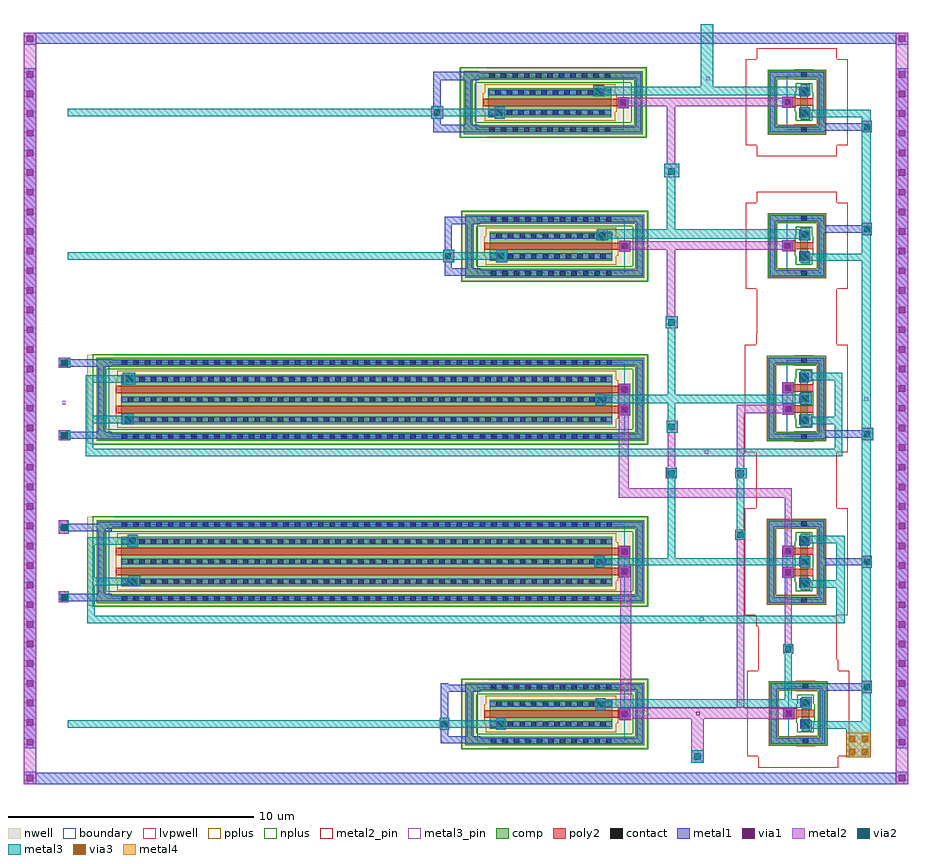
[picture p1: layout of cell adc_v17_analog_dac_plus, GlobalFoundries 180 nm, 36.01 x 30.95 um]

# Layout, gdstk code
import gdstk
lib = gdstk.Library(unit=1e-6, precision=1e-09)
def R(c, l, rs):  # rectangles x0, y0, x1, y1
    for r in rs: c.add(gdstk.rectangle(r[:2], r[2:], *l))
def A(c, l, x, y, w, h, nx, ny, dx, dy):  # array of equal rectangles
    R(c, l, [(x+i*dx, y+j*dy, x+i*dx+w, y+j*dy+h) for i in range(nx) for j in range(ny)])
def P(c, l, *ps):  # polygons
    for p in ps: c.add(gdstk.Polygon(p, *l))
boundary = (0, 0)
nwell = (21, 0)
comp = (22, 0)
poly2 = (30, 0)
pplus = (31, 0)
nplus = (32, 0)
contact = (33, 0)
metal1 = (34, 0)
via1 = (35, 0)
metal2 = (36, 0)
metal2_pin = (36, 10)
via2 = (38, 0)
via3 = (40, 0)
metal3 = (42, 0)
metal3_pin = (42, 10)
metal4 = (46, 0)
lvpwell = (204, 0)

adc_v17_analog_dac_plus = lib.new_cell('adc_v17_analog_dac_plus')
R(adc_v17_analog_dac_plus, boundary, [(555.815,40.535,561.835,42.735), (568.475,40.535,569.885,42.775), (568.425,46.285,569.835,49.385), (540.815,46.335,561.835,49.355), (540.815,52.935,561.835,55.955), (568.425,52.935,569.835,56.035), (555.815,59.585,561.835,61.785), (568.425,59.585,569.835,61.825), (555.765,65.435,561.785,67.635), (568.425,65.435,569.835,67.675)])
R(adc_v17_analog_dac_plus, nwell, [(555.22,40.23,556.26,43.045), (555.2,40.235,555.22,43.035), (556.26,40.235,562.735,43.035), (539.945,46.035,541.015,49.665), (541.015,46.035,562.735,49.655), (539.945,52.635,541.015,56.265), (541.015,52.635,562.735,56.255), (555.22,59.28,556.26,62.095), (555.2,59.285,555.22,62.085), (556.26,59.285,562.735,62.085), (555.17,65.13,556.21,67.945), (555.15,65.135,555.17,67.935), (556.21,65.135,562.685,67.935)])
A(adc_v17_analog_dac_plus, comp, 568.95, 46.795, 0.03, 0.36, 1, 3, 0, 0.86)
A(adc_v17_analog_dac_plus, comp, 569.28, 46.795, 0.03, 0.36, 1, 3, 0, 0.86)
A(adc_v17_analog_dac_plus, comp, 568.95, 53.445, 0.03, 0.36, 1, 3, 0, 0.86)
A(adc_v17_analog_dac_plus, comp, 569.28, 53.445, 0.03, 0.36, 1, 3, 0, 0.86)
R(adc_v17_analog_dac_plus, comp, [(555.32,40.355,555.68,42.915), (555.68,40.355,562.255,40.715), (562.255,40.355,562.615,42.915), (567.71,40.355,568.07,42.955), (568.07,40.355,569.705,40.715), (569.705,40.355,570.065,42.955), (556.325,41.045,561.325,42.225), (569,41.045,569.03,41.405), (569.03,41.045,569.33,42.265), (569.33,41.045,569.36,41.405), (569,41.905,569.03,42.265), (569.33,41.905,569.36,42.265), (555.68,42.555,562.255,42.915), (568.07,42.595,569.705,42.955), (567.62,46.105,567.98,49.565), (567.98,46.105,569.655,46.465), (569.655,46.105,570.015,49.565), (540.325,46.155,540.685,49.535), (540.685,46.155,562.255,46.515), (562.255,46.155,562.615,49.535), (568.98,46.795,569.28,48.875), (541.325,46.845,561.325,48.845), (540.685,49.175,562.255,49.535), (567.98,49.205,569.655,49.565), (540.325,52.755,540.685,56.135), (540.685,52.755,562.255,53.115), (562.255,52.755,562.615,56.135), (567.62,52.755,567.98,56.215), (567.98,52.755,569.655,53.115), (569.655,52.755,570.015,56.215), (541.325,53.445,561.325,55.445), (568.98,53.445,569.28,55.525), (540.685,55.775,562.255,56.135), (567.98,55.855,569.655,56.215), (555.32,59.405,555.68,61.965), (555.68,59.405,562.255,59.765), (562.255,59.405,562.615,61.965), (567.66,59.405,568.02,62.005), (568.02,59.405,569.655,59.765), (569.655,59.405,570.015,62.005), (556.325,60.095,561.325,61.275), (568.95,60.095,568.98,60.455), (568.98,60.095,569.28,61.315), (569.28,60.095,569.31,60.455), (568.95,60.955,568.98,61.315), (569.28,60.955,569.31,61.315), (555.68,61.605,562.255,61.965), (568.02,61.645,569.655,62.005), (555.27,65.255,555.63,67.815), (555.63,65.255,562.205,65.615), (562.205,65.255,562.565,67.815), (567.66,65.255,568.02,67.855), (568.02,65.255,569.655,65.615), (569.655,65.255,570.015,67.855), (556.275,65.945,561.275,67.125), (568.95,65.945,568.98,66.305), (568.98,65.945,569.28,67.165), (569.28,65.945,569.31,66.305), (568.95,66.805,568.98,67.165), (569.28,66.805,569.31,67.165), (555.63,67.455,562.205,67.815), (568.02,67.495,569.655,67.855)])
R(adc_v17_analog_dac_plus, poly2, [(561.595,41.41,562.045,41.86), (568.29,41.44,568.845,41.87), (556.105,41.485,561.595,41.785), (568.845,41.505,569.55,41.805), (568.25,47.18,568.7,47.63), (561.59,47.21,562.04,47.66), (568.7,47.255,569.5,47.555), (541.105,47.285,561.59,47.585), (561.59,48.025,562.04,48.475), (568.25,48.04,568.7,48.49), (541.105,48.105,561.59,48.405), (568.7,48.115,569.5,48.415), (561.59,53.81,562.04,54.26), (568.25,53.83,568.7,54.28), (541.105,53.885,561.59,54.185), (568.7,53.905,569.5,54.205), (561.59,54.625,562.04,55.075), (568.25,54.69,568.7,55.14), (541.105,54.705,561.59,55.005), (568.7,54.765,569.5,55.065), (561.595,60.46,562.045,60.91), (568.24,60.49,568.795,60.92), (556.105,60.535,561.595,60.835), (568.795,60.555,569.5,60.855), (561.545,66.31,561.995,66.76), (568.24,66.34,568.795,66.77), (556.055,66.385,561.545,66.685), (568.795,66.405,569.5,66.705)])
R(adc_v17_analog_dac_plus, pplus, [(568.78,40.325,569.58,40.745), (567.69,40.335,568.09,42.975), (568.09,40.335,568.78,40.735), (569.58,40.335,569.685,40.745), (569.685,40.335,570.085,42.975), (556.165,40.885,561.485,42.385), (556.095,41.255,556.165,42.015), (561.485,41.255,561.555,42.015), (568.78,42.565,569.58,42.985), (569.58,42.565,569.685,42.975), (568.09,42.575,568.78,42.975), (568.73,46.075,569.53,46.495), (567.6,46.085,568,49.585), (568,46.085,568.73,46.485), (569.53,46.085,569.635,46.495), (569.635,46.085,570.035,49.585), (541.165,46.685,561.485,49.005), (541.095,47.055,541.165,48.635), (561.485,47.055,561.555,48.635), (568.73,49.175,569.53,49.595), (569.53,49.175,569.635,49.585), (568,49.185,568.73,49.585), (568.73,52.725,569.53,53.145), (567.6,52.735,568,56.235), (568,52.735,568.73,53.135), (569.53,52.735,569.635,53.145), (569.635,52.735,570.035,56.235), (541.165,53.285,561.485,55.605), (541.095,53.655,541.165,55.235), (561.485,53.655,561.555,55.235), (568.73,55.825,569.53,56.245), (569.53,55.825,569.635,56.235), (568,55.835,568.73,56.235), (568.73,59.375,569.53,59.795), (567.64,59.385,568.04,62.025), (568.04,59.385,568.73,59.785), (569.53,59.385,569.635,59.795), (569.635,59.385,570.035,62.025), (556.165,59.935,561.485,61.435), (556.095,60.305,556.165,61.065), (561.485,60.305,561.555,61.065), (568.73,61.615,569.53,62.035), (569.53,61.615,569.635,62.025), (568.04,61.625,568.73,62.025), (568.73,65.225,569.53,65.645), (567.64,65.235,568.04,67.875), (568.04,65.235,568.73,65.635), (569.53,65.235,569.635,65.645), (569.635,65.235,570.035,67.875), (556.115,65.785,561.435,67.285), (556.045,66.155,556.115,66.915), (561.435,66.155,561.505,66.915), (568.73,67.465,569.53,67.885), (569.53,67.465,569.635,67.875), (568.04,67.475,568.73,67.875)])
R(adc_v17_analog_dac_plus, nplus, [(555.16,40.195,555.79,43.075), (555.79,40.195,562.145,40.825), (562.145,40.195,562.775,43.075), (568.84,40.885,569.52,42.425), (568.8,41.275,568.84,42.035), (569.52,41.275,569.56,42.035), (555.79,42.445,562.145,43.075), (540.165,45.995,540.705,49.695), (540.705,45.995,562.145,46.625), (562.145,45.995,562.775,49.695), (568.79,46.635,569.47,49.035), (568.75,47.025,568.79,48.645), (569.47,47.025,569.51,48.645), (540.705,49.065,562.145,49.695), (540.165,52.595,540.705,56.295), (540.705,52.595,562.145,53.225), (562.145,52.595,562.775,56.295), (568.79,53.285,569.47,55.685), (568.75,53.675,568.79,55.295), (569.47,53.675,569.51,55.295), (540.705,55.665,562.145,56.295), (555.16,59.245,555.79,62.125), (555.79,59.245,562.145,59.875), (562.145,59.245,562.775,62.125), (568.79,59.935,569.47,61.475), (568.75,60.325,568.79,61.085), (569.47,60.325,569.51,61.085), (555.79,61.495,562.145,62.125), (555.11,65.095,555.74,67.975), (555.74,65.095,562.095,65.725), (562.095,65.095,562.725,67.975), (568.79,65.785,569.47,67.325), (568.75,66.175,568.79,66.935), (569.47,66.175,569.51,66.935), (555.74,67.345,562.095,67.975)])
A(adc_v17_analog_dac_plus, contact, 556.365, 40.425, 0.22, 0.22, 11, 2, 0.47, 2.2)
A(adc_v17_analog_dac_plus, contact, 556.6, 41.115, 0.22, 0.22, 10, 2, 0.47, 0.82)
A(adc_v17_analog_dac_plus, contact, 541.345, 46.225, 0.22, 0.22, 43, 2, 0.47, 3.02)
A(adc_v17_analog_dac_plus, contact, 569.02, 46.865, 0.22, 0.22, 1, 3, 0, 0.86)
A(adc_v17_analog_dac_plus, contact, 541.58, 46.915, 0.22, 0.22, 42, 3, 0.47, 0.82)
A(adc_v17_analog_dac_plus, contact, 541.345, 52.825, 0.22, 0.22, 43, 2, 0.47, 3.02)
A(adc_v17_analog_dac_plus, contact, 541.58, 53.515, 0.22, 0.22, 42, 3, 0.47, 0.82)
A(adc_v17_analog_dac_plus, contact, 569.02, 53.515, 0.22, 0.22, 1, 3, 0, 0.86)
A(adc_v17_analog_dac_plus, contact, 556.365, 59.475, 0.22, 0.22, 11, 2, 0.47, 2.2)
A(adc_v17_analog_dac_plus, contact, 556.6, 60.165, 0.22, 0.22, 10, 2, 0.47, 0.82)
A(adc_v17_analog_dac_plus, contact, 556.315, 65.325, 0.22, 0.22, 11, 2, 0.47, 2.2)
A(adc_v17_analog_dac_plus, contact, 556.55, 66.015, 0.22, 0.22, 10, 2, 0.47, 0.82)
R(adc_v17_analog_dac_plus, contact, [(569.07,40.425,569.29,40.645), (569.07,41.115,569.29,41.335), (561.7,41.525,561.92,41.745), (568.4,41.545,568.62,41.765), (569.07,41.975,569.29,42.195), (569.07,42.665,569.29,42.885), (569.02,46.175,569.24,46.395), (568.375,47.295,568.595,47.515), (561.7,47.325,561.92,47.545), (561.7,48.14,561.92,48.36), (568.375,48.155,568.595,48.375), (569.02,49.275,569.24,49.495), (569.02,52.825,569.24,53.045), (561.7,53.925,561.92,54.145), (568.375,53.945,568.595,54.165), (561.7,54.74,561.92,54.96), (568.375,54.805,568.595,55.025), (569.02,55.925,569.24,56.145), (569.02,59.475,569.24,59.695), (569.02,60.165,569.24,60.385), (561.7,60.575,561.92,60.795), (568.35,60.595,568.57,60.815), (569.02,61.025,569.24,61.245), (569.02,61.715,569.24,61.935), (569.02,65.325,569.24,65.545), (569.02,66.015,569.24,66.235), (561.65,66.425,561.87,66.645), (568.35,66.445,568.57,66.665), (569.02,66.875,569.24,67.095), (569.02,67.565,569.24,67.785)])
A(adc_v17_analog_dac_plus, metal1, 538.13, 38.785, 0.46, 0.46, 69, 2, 0.5, 30.14)
A(adc_v17_analog_dac_plus, metal1, 537.355, 40.235, 0.5, 0.5, 1, 35, 0, 0.8)
A(adc_v17_analog_dac_plus, metal1, 572.865, 40.235, 0.5, 0.5, 1, 35, 0, 0.8)
A(adc_v17_analog_dac_plus, metal1, 568.93, 46.775, 0.4, 0.4, 1, 3, 0, 0.86)
A(adc_v17_analog_dac_plus, metal1, 541.335, 46.91, 19.98, 0.23, 1, 3, 0, 0.82)
A(adc_v17_analog_dac_plus, metal1, 568.93, 53.425, 0.4, 0.4, 1, 3, 0, 0.86)
A(adc_v17_analog_dac_plus, metal1, 541.335, 53.51, 19.98, 0.23, 1, 3, 0, 0.82)
R(adc_v17_analog_dac_plus, metal1, [(537.355,38.785,537.855,39.285), (537.355,38.785,537.855,39.285), (537.355,38.785,537.785,39.245), (537.785,38.785,572.935,39.245), (572.865,38.785,573.365,39.285), (572.865,38.785,573.365,39.285), (572.935,38.785,573.365,39.245), (537.355,40.235,537.855,67.935), (572.865,40.235,573.365,67.935), (555.385,40.42,555.615,42.85), (555.615,40.42,562.32,40.65), (562.32,40.42,562.55,42.85), (567.775,40.42,568.005,42.89), (568.005,40.42,569.77,40.65), (569.77,40.42,570,42.89), (554.335,40.435,554.635,42.885), (554.635,40.435,555.935,40.735), (569.035,40.935,569.435,41.385), (554.285,40.985,554.335,41.485), (554.635,40.985,554.685,41.485), (556.585,40.985,556.985,41.485), (568.98,41.025,569.38,41.425), (556.335,41.11,561.315,41.34), (561.595,41.41,562.045,41.86), (568.28,41.43,568.73,41.88), (561.66,41.435,561.96,41.835), (568.36,41.455,568.66,41.855), (560.635,41.785,561.035,42.285), (569.035,41.835,569.435,42.335), (568.98,41.885,569.38,42.285), (556.335,41.93,561.315,42.16), (571.485,42.485,571.885,42.985), (554.635,42.535,555.935,42.835), (569.885,42.585,571.485,42.885), (555.615,42.62,562.32,42.85), (568.005,42.66,569.77,42.89), (567.685,46.17,567.915,49.5), (567.915,46.17,569.72,46.4), (569.72,46.17,569.95,49.5), (538.785,46.185,539.185,46.635), (540.39,46.22,540.62,49.47), (540.62,46.22,562.32,46.45), (562.32,46.22,562.55,49.47), (539.185,46.235,540.935,46.535), (568.985,46.685,569.385,47.135), (541.635,46.835,542.085,47.285), (568.25,47.18,568.7,47.63), (568.335,47.205,568.635,47.605), (561.59,47.21,562.04,47.66), (561.66,47.235,561.96,47.635), (560.585,47.585,560.985,48.085), (568.985,47.585,569.385,48.085), (571.485,47.585,571.885,48.085), (569.785,47.685,571.485,47.985), (561.59,48.025,562.04,48.475), (568.25,48.04,568.7,48.49), (561.66,48.05,561.96,48.45), (568.335,48.065,568.635,48.465), (541.585,48.435,541.985,48.935), (568.985,48.535,569.385,48.985), (538.785,48.985,539.185,49.535), (539.185,49.085,540.935,49.385), (540.62,49.24,562.32,49.47), (567.915,49.27,569.72,49.5), (538.785,52.785,539.235,53.185), (571.485,52.785,571.935,53.285), (540.39,52.82,540.62,56.07), (540.62,52.82,562.32,53.05), (562.32,52.82,562.55,56.07), (567.685,52.82,567.915,56.15), (567.915,52.82,569.72,53.05), (569.72,52.82,569.95,56.15), (539.235,52.835,540.935,53.135), (569.785,52.885,571.485,53.185), (568.985,53.335,569.435,53.835), (541.335,53.435,541.835,53.885), (561.59,53.81,562.04,54.26), (568.25,53.83,568.7,54.28), (561.66,53.835,561.96,54.235), (568.335,53.855,568.64,54.255), (560.635,54.185,561.035,54.685), (568.985,54.235,569.435,54.735), (561.59,54.625,562.04,55.075), (561.66,54.65,561.96,55.05), (568.25,54.69,568.7,55.14), (568.33,54.715,568.635,55.115), (541.385,55.035,541.885,55.535), (568.985,55.185,569.435,55.635), (538.785,55.735,539.235,56.135), (539.235,55.785,540.935,56.085), (540.62,55.84,562.32,56.07), (567.915,55.92,569.72,56.15), (555.385,59.47,555.615,61.9), (555.615,59.47,562.32,59.7), (562.32,59.47,562.55,61.9), (567.725,59.47,567.955,61.94), (567.955,59.47,569.72,59.7), (569.72,59.47,569.95,61.94), (554.485,59.485,554.785,61.885), (554.785,59.485,555.935,59.785), (568.985,59.985,569.385,60.435), (554.435,60.035,554.485,60.535), (554.785,60.035,554.885,60.535), (556.585,60.035,557.035,60.535), (568.93,60.075,569.33,60.475), (556.335,60.16,561.315,60.39), (561.595,60.46,562.045,60.91), (568.23,60.48,568.68,60.93), (561.66,60.485,561.96,60.885), (568.31,60.505,568.61,60.905), (560.685,60.935,561.135,61.385), (568.93,60.935,569.33,61.335), (568.985,60.935,569.385,61.435), (556.335,60.98,561.315,61.21), (571.485,61.135,571.885,61.635), (569.735,61.235,571.485,61.535), (554.785,61.585,555.935,61.885), (555.615,61.67,562.32,61.9), (567.955,61.71,569.72,61.94), (555.335,65.32,555.565,67.75), (555.565,65.32,562.27,65.55), (562.27,65.32,562.5,67.75), (567.725,65.32,567.955,67.79), (567.955,65.32,569.72,65.55), (569.72,65.32,569.95,67.79), (554.035,65.335,554.335,67.785), (554.335,65.335,555.885,65.635), (571.485,65.335,571.885,65.785), (569.835,65.385,571.485,65.685), (568.985,65.835,569.385,66.335), (553.935,65.885,554.035,66.385), (554.335,65.885,554.435,66.385), (556.535,65.885,556.935,66.385), (568.93,65.925,569.33,66.325), (556.285,66.01,561.265,66.24), (561.545,66.31,561.995,66.76), (568.23,66.33,568.68,66.78), (561.61,66.335,561.91,66.735), (568.31,66.355,568.615,66.755), (560.535,66.785,560.985,67.235), (568.93,66.785,569.33,67.185), (556.285,66.83,561.265,67.06), (568.985,66.835,569.385,67.285), (554.335,67.435,555.885,67.785), (555.565,67.52,562.27,67.75), (567.955,67.56,569.72,67.79), (537.355,68.885,537.855,69.385), (537.355,68.885,537.855,69.385), (572.865,68.885,573.365,69.385), (572.865,68.885,573.365,69.385), (537.355,68.925,537.785,69.385), (537.785,68.925,572.935,69.385), (572.935,68.925,573.365,69.385)])
A(adc_v17_analog_dac_plus, via1, 537.475, 40.355, 0.26, 0.26, 1, 35, 0, 0.8)
A(adc_v17_analog_dac_plus, via1, 572.985, 40.355, 0.26, 0.26, 1, 35, 0, 0.8)
A(adc_v17_analog_dac_plus, via1, 569.055, 46.805, 0.26, 0.26, 1, 3, 0, 0.9)
A(adc_v17_analog_dac_plus, via1, 569.055, 53.455, 0.26, 0.26, 1, 3, 0, 0.9)
R(adc_v17_analog_dac_plus, via1, [(537.475,38.905,537.735,39.165), (572.985,38.905,573.245,39.165), (569.105,41.055,569.365,41.315), (554.355,41.105,554.615,41.365), (556.655,41.105,556.915,41.365), (561.68,41.505,561.94,41.765), (568.38,41.525,568.64,41.785), (560.705,41.905,560.965,42.165), (569.105,41.955,569.365,42.215), (571.555,42.605,571.815,42.865), (538.855,46.255,539.115,46.515), (541.705,46.905,541.965,47.165), (568.355,47.275,568.615,47.535), (561.68,47.305,561.94,47.565), (560.655,47.705,560.915,47.965), (571.555,47.705,571.815,47.965), (561.68,48.12,561.94,48.38), (568.355,48.135,568.615,48.395), (541.655,48.555,541.915,48.815), (538.855,49.105,539.115,49.365), (538.855,52.855,539.115,53.115), (571.555,52.905,571.815,53.165), (541.455,53.505,541.715,53.765), (561.68,53.905,561.94,54.165), (568.36,53.925,568.62,54.185), (560.705,54.305,560.965,54.565), (561.68,54.72,561.94,54.98), (568.355,54.785,568.615,55.045), (541.505,55.155,541.765,55.415), (538.855,55.805,539.115,56.065), (569.055,60.105,569.315,60.365), (554.505,60.155,554.765,60.415), (556.655,60.155,556.915,60.415), (561.68,60.555,561.94,60.815), (568.33,60.575,568.59,60.835), (560.755,61.005,561.015,61.265), (569.055,61.055,569.315,61.315), (571.555,61.255,571.815,61.515), (571.555,65.405,571.815,65.665), (569.055,65.955,569.315,66.215), (554.055,66.005,554.315,66.265), (556.605,66.005,556.865,66.265), (561.63,66.405,561.89,66.665), (568.335,66.425,568.595,66.685), (560.605,66.855,560.865,67.115), (569.055,66.905,569.315,67.165), (537.475,69.005,537.735,69.265), (572.985,69.005,573.245,69.265)])
A(adc_v17_analog_dac_plus, metal2, 537.355, 40.235, 0.5, 0.5, 1, 35, 0, 0.8)
A(adc_v17_analog_dac_plus, metal2, 572.865, 40.235, 0.5, 0.5, 1, 35, 0, 0.8)
R(adc_v17_analog_dac_plus, metal2, [(537.355,38.785,537.855,39.285), (537.355,38.785,537.855,39.285), (537.355,38.785,537.855,39.195), (572.865,38.785,573.365,39.285), (572.865,38.785,573.365,39.285), (572.865,38.785,573.365,39.195), (537.355,39.195,537.855,68.975), (572.865,39.195,573.365,68.975), (564.535,39.66,565.035,40.16), (564.535,40.16,565.035,41.435), (569.035,40.935,569.435,41.385), (554.285,40.985,554.685,41.485), (556.585,40.985,556.985,41.485), (561.635,41.385,562.035,48.485), (562.035,41.385,562.085,47.685), (561.595,41.41,561.635,41.885), (567.675,41.43,567.735,41.885), (567.735,41.43,568.73,41.88), (561.585,41.435,561.595,41.885), (562.085,41.435,566.385,41.885), (566.385,41.435,566.685,49.135), (566.685,41.435,567.675,41.885), (560.635,41.785,561.035,42.285), (569.035,41.835,569.435,42.335), (571.485,42.485,571.885,42.985), (568.285,44.135,568.335,44.435), (568.335,44.135,568.635,50.835), (568.635,44.135,568.685,44.435), (538.785,46.185,539.185,46.635), (568.985,46.685,569.385,47.135), (541.635,46.835,542.085,47.285), (568.25,47.18,568.335,48.49), (568.635,47.18,568.685,48.49), (568.685,47.18,568.7,47.63), (561.585,47.185,561.635,48.485), (568.235,47.185,568.25,48.485), (560.585,47.585,560.985,48.085), (568.985,47.585,569.385,48.085), (571.485,47.585,571.885,48.085), (562.035,48.025,562.04,48.475), (568.685,48.04,568.7,48.49), (541.585,48.435,541.985,48.935), (568.985,48.535,569.385,48.985), (566.335,48.735,566.385,49.135), (566.685,48.735,566.735,49.135), (538.785,48.985,539.185,49.535), (561.585,50.435,561.985,55.085), (561.985,50.435,568.335,50.835), (563.485,51.235,563.585,51.685), (563.585,51.235,563.885,53.585), (563.885,51.235,563.935,51.685), (566.335,51.235,566.385,51.635), (566.385,51.235,566.685,54.235), (566.685,51.235,566.785,51.635), (538.785,52.785,539.235,53.185), (571.485,52.785,571.935,53.285), (563.535,53.085,563.585,53.585), (563.885,53.085,563.985,53.585), (568.985,53.335,569.435,53.835), (541.335,53.435,541.835,53.885), (561.985,53.785,562.035,55.085), (562.035,53.81,562.04,54.26), (568.25,53.83,568.685,55.145), (568.685,53.83,568.705,54.285), (568.235,53.835,568.245,55.135), (568.245,53.835,568.25,55.145), (566.685,53.885,568.235,54.235), (560.635,54.185,561.035,54.685), (568.985,54.235,569.435,54.735), (562.035,54.625,562.04,55.075), (568.685,54.69,568.7,55.145), (541.385,55.035,541.885,55.535), (568.985,55.185,569.435,55.635), (538.785,55.735,539.235,56.135), (563.485,57.335,563.535,57.835), (563.535,57.335,563.885,60.885), (563.885,57.335,563.985,57.835), (568.985,59.985,569.385,60.435), (554.435,60.035,554.885,60.535), (556.585,60.035,557.035,60.535), (561.595,60.46,562.045,60.91), (568.23,60.48,568.68,60.93), (562.045,60.535,563.535,60.885), (563.885,60.535,568.23,60.885), (560.685,60.935,561.135,61.385), (568.985,60.935,569.385,61.435), (571.485,61.135,571.885,61.635), (563.435,63.485,563.535,64.035), (563.535,63.485,563.885,66.735), (563.885,63.485,564.035,64.035), (571.485,65.335,571.885,65.785), (568.985,65.835,569.385,66.335), (553.935,65.885,554.435,66.385), (556.535,65.885,556.935,66.385), (561.545,66.31,561.995,66.76), (568.23,66.33,568.68,66.78), (561.995,66.385,563.535,66.735), (563.885,66.385,568.23,66.735), (560.535,66.785,560.985,67.235), (568.985,66.835,569.385,67.285), (537.355,68.885,537.855,69.385), (537.355,68.885,537.855,69.385), (572.865,68.885,573.365,69.385), (572.865,68.885,573.365,69.385), (537.355,68.975,537.855,69.385), (572.865,68.975,573.365,69.385)])
R(adc_v17_analog_dac_plus, metal2_pin, [(564.735,41.585,564.885,41.735)])
A(adc_v17_analog_dac_plus, via2, 569.055, 46.805, 0.26, 0.26, 1, 3, 0, 0.9)
A(adc_v17_analog_dac_plus, via2, 569.055, 53.455, 0.26, 0.26, 1, 3, 0, 0.9)
R(adc_v17_analog_dac_plus, via2, [(564.655,39.78,564.915,40.04), (569.105,41.055,569.365,41.315), (554.355,41.105,554.615,41.365), (556.655,41.105,556.915,41.365), (560.705,41.905,560.965,42.165), (569.105,41.955,569.365,42.215), (571.555,42.605,571.815,42.865), (568.355,44.155,568.615,44.415), (538.855,46.255,539.115,46.515), (541.705,46.905,541.965,47.165), (560.655,47.705,560.915,47.965), (571.555,47.705,571.815,47.965), (541.655,48.555,541.915,48.815), (566.405,48.805,566.665,49.065), (538.855,49.105,539.115,49.365), (563.605,51.305,563.865,51.565), (566.405,51.305,566.665,51.565), (538.855,52.855,539.115,53.115), (571.555,52.905,571.815,53.165), (563.605,53.205,563.865,53.465), (541.455,53.505,541.715,53.765), (560.705,54.305,560.965,54.565), (541.505,55.155,541.765,55.415), (538.855,55.805,539.115,56.065), (563.605,57.455,563.865,57.715), (569.055,60.105,569.315,60.365), (554.505,60.155,554.765,60.415), (556.655,60.155,556.915,60.415), (560.755,61.005,561.015,61.265), (569.055,61.055,569.315,61.315), (571.555,61.255,571.815,61.515), (563.605,63.605,563.865,63.865), (571.555,65.405,571.815,65.665), (569.055,65.955,569.315,66.215), (554.055,66.005,554.315,66.265), (556.605,66.005,556.865,66.265), (560.605,66.855,560.865,67.115), (569.055,66.905,569.315,67.165)])
R(adc_v17_analog_dac_plus, via3, [(570.96,39.96,571.22,40.22), (571.485,39.96,571.745,40.22), (570.96,40.485,571.22,40.745), (571.485,40.485,571.745,40.745)])
R(adc_v17_analog_dac_plus, metal3, [(564.535,39.66,565.035,40.16), (570.84,39.865,571.84,40.865), (570.84,40.865,571.835,41.035), (569.035,40.935,569.435,41.385), (554.285,40.985,554.685,41.485), (556.585,40.985,556.985,41.485), (569.435,41.035,571.485,41.335), (571.485,41.035,571.835,66.235), (539.135,41.085,554.285,41.385), (554.685,41.085,556.585,41.385), (560.635,41.785,561.035,42.285), (569.035,41.835,569.435,42.335), (561.035,41.885,568.335,42.235), (568.335,41.885,568.635,44.485), (568.635,41.885,569.035,42.235), (571.835,42.485,571.885,42.985), (568.285,44.085,568.335,44.485), (568.635,44.085,568.685,44.485), (539.935,45.335,540.235,48.835), (540.235,45.335,570.435,45.635), (570.435,45.335,570.785,48.885), (539.135,46.185,539.185,46.635), (568.985,46.685,569.385,47.135), (569.385,46.785,570.435,47.085), (541.635,46.835,542.085,47.285), (540.235,46.885,541.635,47.185), (560.585,47.585,560.985,48.085), (568.985,47.585,569.385,48.085), (571.835,47.585,571.885,48.085), (560.985,47.685,563.585,47.985), (563.585,47.685,563.885,51.635), (563.885,47.685,568.985,47.985), (541.585,48.435,541.985,48.935), (540.235,48.535,541.585,48.835), (568.985,48.535,569.385,48.985), (569.385,48.585,570.435,48.885), (566.335,48.735,566.385,49.135), (566.385,48.735,566.685,51.635), (566.685,48.735,566.735,49.135), (539.135,48.985,539.185,49.535), (566.335,51.235,566.385,51.635), (566.685,51.235,566.785,51.635), (563.535,51.285,563.585,51.635), (563.885,51.285,563.935,51.635), (539.885,52.135,540.185,55.435), (540.185,52.135,570.385,52.435), (570.385,52.135,570.685,55.535), (539.135,52.785,539.235,53.185), (571.835,52.785,571.935,53.285), (563.535,53.085,563.585,53.585), (563.585,53.085,563.885,57.835), (563.885,53.085,563.985,53.585), (568.985,53.335,569.435,53.835), (541.335,53.435,541.835,53.885), (569.435,53.435,570.385,53.735), (540.185,53.485,541.335,53.785), (560.635,54.185,561.035,54.685), (568.985,54.235,569.435,54.735), (561.035,54.285,563.585,54.635), (563.885,54.285,568.985,54.635), (541.385,55.035,541.885,55.535), (540.185,55.135,541.385,55.435), (568.985,55.185,569.435,55.635), (569.435,55.235,570.385,55.535), (539.135,55.735,539.235,56.135), (563.485,57.335,563.585,57.835), (563.885,57.335,563.985,57.835), (568.985,59.985,569.385,60.435), (554.435,60.035,554.885,60.535), (556.585,60.035,557.035,60.535), (569.385,60.085,571.485,60.385), (539.135,60.135,554.435,60.435), (554.885,60.135,556.585,60.435), (560.685,60.935,561.135,61.385), (568.985,60.935,569.385,61.435), (561.135,60.985,563.535,61.385), (563.535,60.985,563.885,64.035), (563.885,60.985,568.985,61.385), (571.835,61.135,571.885,61.635), (563.435,63.485,563.535,64.035), (563.885,63.485,564.035,64.035), (571.835,65.335,571.885,65.785), (568.985,65.835,569.385,66.335), (553.935,65.885,554.435,66.385), (556.535,65.885,556.935,66.385), (569.385,65.935,571.485,66.235), (539.135,65.985,553.935,66.285), (554.435,65.985,556.535,66.285), (560.535,66.785,560.985,67.235), (560.985,66.835,565.035,67.185), (565.035,66.835,565.435,67.685), (565.435,66.835,568.985,67.185), (568.985,66.835,569.385,67.285), (564.915,67.185,565.035,67.685), (564.915,67.685,565.435,69.735)])
R(adc_v17_analog_dac_plus, metal3_pin, [(564.885,45.435,565.035,45.585), (565.085,52.235,565.235,52.385), (538.935,54.235,539.035,54.385), (571.585,54.385,571.735,54.535), (565.135,67.435,565.285,67.585)])
R(adc_v17_analog_dac_plus, metal4, [(570.84,39.865,571.84,40.865)])
R(adc_v17_analog_dac_plus, lvpwell, [(567.26,39.455,569.23,40.805), (568.33,39.455,570.03,40.805), (569.13,39.455,570.515,40.805), (566.81,39.905,568.16,43.405), (569.615,39.905,570.965,43.405), (567.71,40.235,568.73,43.075), (568.73,40.235,568.835,41.43), (568.835,40.235,570.185,43.075), (568.73,41.43,568.835,41.44), (568.73,41.44,568.835,41.87), (568.73,41.87,568.835,41.88), (568.73,41.88,568.835,43.075), (567.26,42.505,568.18,43.855), (569.42,42.505,570.515,43.855), (567.17,45.205,568.18,46.555), (569.42,45.205,570.465,46.555), (566.72,45.655,568.07,50.015), (569.565,45.655,570.915,50.015), (567.62,45.985,570.135,49.685), (567.17,49.115,568.18,50.465), (569.42,49.115,570.465,50.465), (567.17,51.855,568.18,53.205), (569.42,51.855,570.465,53.205), (566.72,52.305,568.07,56.665), (569.565,52.305,570.915,56.665), (567.62,52.635,570.135,56.335), (567.17,55.765,568.18,57.115), (569.42,55.765,570.465,57.115), (567.21,58.505,568.18,59.855), (569.42,58.505,570.465,59.855), (566.76,58.955,568.11,62.455), (569.565,58.955,570.915,62.455), (567.66,59.285,568.68,62.125), (568.68,59.285,568.785,60.48), (568.785,59.285,570.135,62.125), (568.68,60.48,568.785,60.49), (568.68,60.49,568.785,60.92), (568.68,60.92,568.785,60.93), (568.68,60.93,568.785,62.125), (567.21,61.555,568.18,62.905), (569.42,61.555,570.465,62.905), (567.21,64.355,568.18,65.705), (569.42,64.355,570.465,65.705), (566.76,64.805,568.11,68.305), (569.565,64.805,570.915,68.305), (567.66,65.135,568.68,67.975), (568.68,65.135,568.785,66.33), (568.785,65.135,570.135,67.975), (568.68,66.33,568.785,66.34), (568.68,66.34,568.785,66.77), (568.68,66.77,568.785,66.78), (568.68,66.78,568.785,67.975), (567.21,67.405,569.18,68.755), (568.28,67.405,569.98,68.755), (569.08,67.405,570.465,68.755)])
P(adc_v17_analog_dac_plus, lvpwell, [(568.18,49.685),(568.18,50.465),(567.17,50.465),(567.17,51.855),(568.18,51.855),(568.18,52.635),(569.42,52.635),(569.42,51.855),(570.465,51.855),(570.465,50.465),(569.42,50.465),(569.42,49.685)],
  [(568.18,56.335),(568.18,57.115),(567.21,57.115),(567.21,58.505),(568.18,58.505),(568.18,59.285),(568.68,59.285),(568.785,59.285),(569.42,59.285),(569.42,58.505),(570.465,58.505),(570.465,57.115),(569.42,57.115),(569.42,56.335)],
  [(568.18,62.125),(568.18,62.905),(569.42,62.905),(569.42,62.125),(568.785,62.125),(568.68,62.125)],
  [(568.18,43.075),(568.18,43.855),(567.26,43.855),(567.26,45.205),(568.18,45.205),(568.18,45.985),(569.42,45.985),(569.42,45.205),(570.465,45.205),(570.465,43.855),(569.42,43.855),(569.42,43.075),(568.835,43.075),(568.73,43.075)],
  [(568.18,64.355),(568.18,65.135),(568.68,65.135),(568.785,65.135),(569.42,65.135),(569.42,64.355)])

lib.write_gds('adc_v17_analog_dac_plus.gds')
